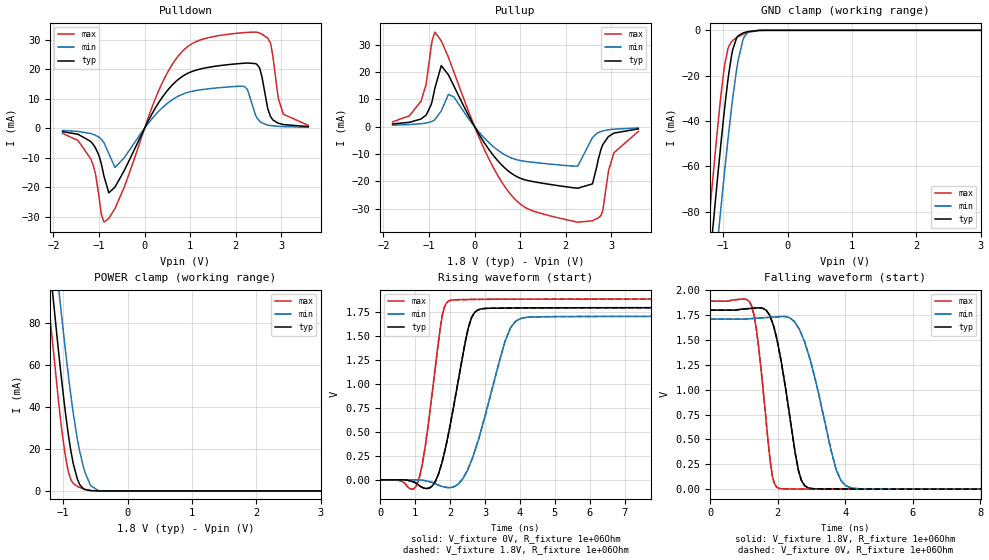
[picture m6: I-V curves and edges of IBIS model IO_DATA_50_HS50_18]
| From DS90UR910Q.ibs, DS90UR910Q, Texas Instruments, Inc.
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|   Model IO_DATA_50_HS50_18
[Model]  IO_DATA_50_HS50_18
Model_type   I/O
Polarity   Non-Inverting
Enable   Active-Low
Vinl =   0.63
Vinh =   1.17
Vmeas = 1.5000V
|   typ   min   max
|   (nom)   (fast)   (slow)
C_comp   1.107pF   1.107pF   1.107pF
[Temperature Range]   25.000   105.00   -40.000
[Voltage Range]   1.800V   1.700V   1.900V
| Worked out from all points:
|   slope of the pulldown table from 0 to 0.27 V, typ, clamps not added: 35 ohm
|   slope of the pullup table from 0 to 0.27 V, typ, clamps not added: 37 ohm
|   GND clamp passes 1 mA (typ) near -0.67 V on its own axis
|   POWER clamp passes 1 mA (typ) near -0.68 V on its own axis
|   falling waveform, V_fixture 1.8V, R_fixture 1e+06Ohm: 20-80 % time 505ps typ, 718ps min, 343ps max; typ from 1.8 V to 0 V
|   rising waveform, V_fixture 0V, R_fixture 1e+06Ohm: 20-80 % time 549ps typ, 767ps min, 391ps max; typ from 0 V to 1.8 V
|   rising waveform, V_fixture 1.8V, R_fixture 1e+06Ohm: 20-80 % time 549ps typ, 768ps min, 391ps max; typ from 0 V to 1.8 V
|   falling waveform, V_fixture 0V, R_fixture 1e+06Ohm: 20-80 % time 505ps typ, 718ps min, 343ps max; typ from 1.8 V to 0 V
[Pulldown]
|   Voltage   I(typ)   I(min)   I(max)
-1.8V     -1.151mA   -721.1uA   -1.73mA
-1.184V   -4.457mA   -1.79mA    -10.3mA
-892.8mV  -16.14mA   -4.822mA   -31.85mA
-784.8mV  -21.89mA   -8.592mA   -30.57mA
-649.8mV  -19.94mA   -13.27mA   -27.23mA
711mV     16.19mA    10.63mA    23.93mA
2.266V    22.12mA    12.78mA    32.53mA
2.52V     20.59mA    2.471mA    32.32mA
2.817V    2.829mA    815uA      24.38mA
2.93V     1.726mA    663.8uA    10.47mA
3.044V    1.258mA    564.1uA    4.777mA
3.595V    561.6uA    334.1uA    989.3uA
[GND Clamp]
|   Voltage   I(typ)   I(min)   I(max)
-1.8V     -294.5mA   -316mA     -279mA
-1.228V   -108.2mA   -135.9mA   -86.66mA
-1.168V   -89.73mA   -117.9mA   -67.77mA
-1.082V   -63.6mA    -92.1mA    -41.63mA
-1.033V   -49.54mA   -77.98mA   -28.3mA
-979.2mV  -34.85mA   -62.72mA   -15.97mA
-930.6mV  -23mA      -49.56mA   -8.668mA
-871.2mV  -11.45mA   -34.54mA   -5.024mA
-768.6mV  -2.465mA   -13.49mA   -2.849mA
-693mV    -1.185mA   -4.278mA   -1.721mA
-450mV    -39.16uA   -30.07uA   -81.5uA
3.595V    0A         0A         0A
[Pullup]
|   Voltage   I(typ)   I(min)   I(max)
-1.8V     957.1uA    528.8uA    1.718mA
-1.179V   2.76mA     1.04mA     9.229mA
-871.2mV  14.03mA    2.503mA    34.58mA
-730.8mV  22.32mA    5.727mA    31.36mA
-450mV    14.72mA    10.77mA    19.82mA
225mV     -6.204mA   -4.374mA   -8.715mA
721.8mV   -16mA      -10.84mA   -23.32mA
2.266V    -22.55mA   -14.44mA   -34.99mA
2.585V    -20.98mA   -4.093mA   -34.49mA
2.774V    -8.356mA   -1.807mA   -32.57mA
3.06V     -2.385mA   -935.3uA   -9.572mA
3.595V    -841.5uA   -484.6uA   -1.75mA
[POWER Clamp]
|   Voltage   I(typ)   I(min)   I(max)
-1.8V     299.8mA    323.2mA    282.8mA
-1.217V   110.3mA    140.1mA    86.99mA
-1.19V    101.9mA    131.9mA    78.38mA
-1.076V   67.7mA     98.25mA    43.89mA
-1.044V   58.39mA    88.9mA     34.92mA
-973.8mV  39.52mA    69.31mA    18.28mA
-914.4mV  25.75mA    53.74mA    8.664mA
-779.4mV  5.662mA    24.62mA    2.183mA
-660.6mV  654.1uA    8.858mA    728.4uA
-574.2mV  160.2uA    2.529mA    194.7uA
-450mV    11.37uA    103.3uA    10.88uA
3.595V    0A         0A         0A
[Ramp]
R_load = 1e+06
|   typ   min   max
dV/dt_r   1.07991/5.4858e-10   1.02573/7.67494e-10   1.13396/3.9129e-10
dV/dt_f   1.07991/5.05064e-10   1.02572/7.1822e-10   1.13396/3.43297e-10
[Falling Waveform]
V_fixture = 1.8V
V_fixture_min = 1.71V
V_fixture_max = 1.89V
R_fixture = 1e+06Ohm
C_fixture = 0F
|   Time   V(typ)   V(min)   V(max)
0s        1.8V       1.71V      1.89V
1.212ns   1.817V     1.715V     1.855V
1.44ns    1.823V     1.721V     1.413V
1.836ns   1.68V      1.729V     141.4mV
2.035ns   1.405V     1.734V     8.609mV
2.705ns   85.93mV    1.556V     1.265mV
2.993ns   6.768mV    1.267V     904.4uV
3.733ns   1.334mV    197.3mV    599.2uV
4.009ns   1.144mV    38.04mV    520uV
10.05ns   91.3uV     212.7uV    49.35uV
[Rising Waveform]
V_fixture = 0V
V_fixture_min = 0V
V_fixture_max = 0V
R_fixture = 1e+06Ohm
C_fixture = 0F
|   Time   V(typ)   V(min)   V(max)
0s        36.48uV    131uV      10.52uV
1.08ns    -50.15mV   -941.6uV   -22.26mV
1.294ns   -89.4mV    -9.35mV    364.8mV
1.576ns   -17.94mV   -40.88mV   1.175V
1.775ns   190.9mV    -70.29mV   1.718V
1.965ns   501.8mV    -81.42mV   1.871V
2.615ns   1.698V     204.4mV    1.886V
3.575ns   1.796V     1.45V      1.888V
3.871ns   1.797V     1.656V     1.889V
10.05ns   1.8V       1.71V      1.89V
[Rising Waveform]
V_fixture = 1.8V
V_fixture_min = 1.71V
V_fixture_max = 1.89V
R_fixture = 1e+06Ohm
C_fixture = 0F
|   Time   V(typ)   V(min)   V(max)
0s        93.56uV    216.3uV    51uV
1.08ns    -49.97mV   -372.3uV   -21.61mV
1.294ns   -88.87mV   -10.89mV   365.6mV
1.576ns   -17.07mV   -40.66mV   1.175V
1.775ns   191.9mV    -69.79mV   1.719V
1.965ns   502.8mV    -80.66mV   1.871V
2.615ns   1.698V     205.8mV    1.886V
3.575ns   1.796V     1.452V     1.888V
3.871ns   1.797V     1.656V     1.889V
10.05ns   1.8V       1.71V      1.89V
[Falling Waveform]
|Gnd
V_fixture = 0V
V_fixture_min = 0V
V_fixture_max = 0V
R_fixture = 1e+06Ohm
C_fixture = 0F
|   Time   V(typ)   V(min)   V(max)
0s        1.8V       1.71V      1.89V
1.212ns   1.817V     1.715V     1.855V
1.44ns    1.823V     1.721V     1.412V
1.836ns   1.68V      1.729V     141.1mV
2.035ns   1.404V     1.734V     8.492mV
2.705ns   85.51mV    1.555V     1.202mV
2.993ns   6.615mV    1.266V     847.6uV
3.733ns   1.242mV    196.4mV    548.7uV
4.009ns   1.057mV    37.67mV    471uV
10.05ns   34.26uV    127.4uV    8.842uV
